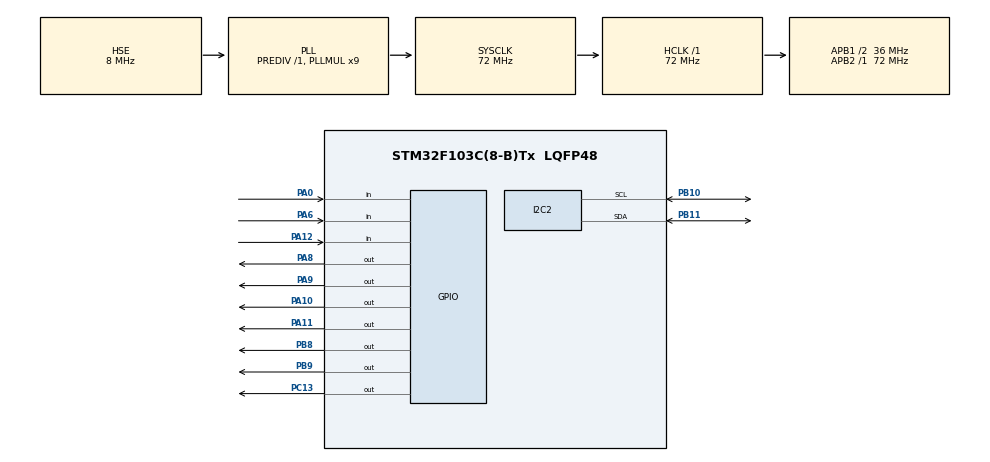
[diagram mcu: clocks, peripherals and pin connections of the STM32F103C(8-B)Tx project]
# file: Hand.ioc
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I2C2.I2C_Mode=I2C_Fast
Mcu.Family=STM32F1
Mcu.Name=STM32F103C(8-B)Tx
Mcu.Package=LQFP48
NVIC.PriorityGroup=NVIC_PRIORITYGROUP_4
PA0-WKUP.GPIO_PuPd=GPIO_PULLDOWN
PA0-WKUP.Signal=GPIO_Input
PA10.PinState=GPIO_PIN_SET
PA10.Signal=GPIO_Output
PA11.Signal=GPIO_Output
PA12.GPIO_PuPd=GPIO_PULLUP
PA12.Signal=GPIO_Input
PA13.Mode=Serial_Wire
PA13.Signal=SYS_JTMS-SWDIO
PA14.Mode=Serial_Wire
PA14.Signal=SYS_JTCK-SWCLK
PA6.GPIO_PuPd=GPIO_PULLDOWN
PA6.Signal=GPIO_Input
PA8.Signal=GPIO_Output
PA9.Signal=GPIO_Output
PB10.Mode=I2C
PB10.Signal=I2C2_SCL
PB11.Mode=I2C
PB11.Signal=I2C2_SDA
PB8.Signal=GPIO_Output
PB9.Signal=GPIO_Output
PC13-TAMPER-RTC.PinState=GPIO_PIN_SET
PC13-TAMPER-RTC.Signal=GPIO_Output
PD0-OSC_IN.Mode=HSE-External-Oscillator
PD0-OSC_IN.Signal=RCC_OSC_IN
PD1-OSC_OUT.Mode=HSE-External-Oscillator
PD1-OSC_OUT.Signal=RCC_OSC_OUT
ProjectManager.HeapSize=0x200
ProjectManager.StackSize=0x400
ProjectManager.TargetToolchain=MDK-ARM V5.32
RCC.AHBFreq_Value=72000000
RCC.APB1CLKDivider=RCC_HCLK_DIV2
RCC.APB1Freq_Value=36000000
RCC.APB1TimFreq_Value=72000000
RCC.APB2Freq_Value=72000000
RCC.APB2TimFreq_Value=72000000
RCC.HCLKFreq_Value=72000000
RCC.PLLMUL=RCC_PLL_MUL9
RCC.PLLSourceVirtual=RCC_PLLSOURCE_HSE
RCC.SYSCLKFreq_VALUE=72000000
RCC.SYSCLKSource=RCC_SYSCLKSOURCE_PLLCLK
RCC.USBFreq_Value=72000000
board=custom

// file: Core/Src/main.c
/* USER CODE BEGIN Header */
/**
  ******************************************************************************
  * @file           : main.c
  * @brief          : Main program body
  ******************************************************************************
  * @attention
  *
  * Copyright (c) 2026 STMicroelectronics.
  * All rights reserved.
  *
  * This software is licensed under terms that can be found in the LICENSE file
  * in the root directory of this software component.
  * If no LICENSE file comes with this software, it is provided AS-IS.
  *
  ******************************************************************************
  */
/* USER CODE END Header */
#include "main.h"
#include "i2c.h"
#include "gpio.h"

/* USER CODE BEGIN Includes */
#include "OLED.h"
#include "mpu6500.h"
#include "nrf24l01.h"
/* USER CODE END Includes */

/* USER CODE BEGIN PD */
/* 手势编号（后续 NRF 发送阶段将直接用作命令字） */
#define GES_STOP   0	/* 放平 */
#define GES_FRONT  1	/* 前倾 */
#define GES_BACK   2	/* 后倾 */
#define GES_LEFT   3	/* 左倾 */
#define GES_RIGHT  4	/* 右倾 */
#define GES_ROTL   5	/* 左拧（原地逆时针） */
#define GES_ROTR   6	/* 右拧（原地顺时针） */
#define GES_LOCKTOG 7	/* 解锁/锁定车端（PA6 按下时连发，2026-09-14 加） */

/* PA6 解锁命令连发时长：按下后把命令 7 连发约 12 帧（30Hz × 400ms），
   即使中途丢几帧也能送到车端；车端按命令 7 的上升沿去重，只切换一次 */
#define LOCK_BURST_MS   400

/* 拧腕阈值：陀螺仪 Z 轴原始值。±100°/s × 131 LSB = ±13100（2026-09-12 用户实测定） */
#define TWIST_RAW_THRESHOLD   13100

/* 拧腕锁定时间：一次拧腕结束后，这段时间内不再识别任何旋转（防回正误判成反向旋转） */
#define TWIST_LOCK_MS   1000
/* USER CODE END PD */

void SystemClock_Config(void);

int main(void)
{

  /* MCU Configuration--------------------------------------------------------*/

  /* Reset of all peripherals, Initializes the Flash interface and the Systick. */
  HAL_Init();

  /* Configure the system clock */
  SystemClock_Config();

  /* Initialize all configured peripherals */
  MX_GPIO_Init();
  MX_I2C2_Init();
  /* USER CODE BEGIN 2 */
  OLED_Init();				/* OLED 初始化（内部会重跑 MX_GPIO_Init，必须最先） */
  NRF24L01_Init();			/* NRF 模块配置好待命，发送受总开关控制 */
  /* 上电默认总开关关：只显示关机提示，按 PA0 才开机（采样/显示/NRF 发送全开） */
  OLED_Clear();
  OLED_ShowString(1, 1, "SENSOR OFF");
  OLED_ShowString(3, 1, "Press key to");
  OLED_ShowString(4, 1, "start");
  if (MPU6500_Init(&hi2c2) != HAL_OK)	/* 传感器自检（读 WHO_AM_I） */
  {
      OLED_ShowString(1, 1, "MPU6500 ERROR");	/* 覆盖关机提示第一行 */
      OLED_ShowString(2, 1, "Check wire/AD0 ");
      while (1) {}			/* 传感器没响应，停在这里排查接线 */
  }
  /* 旋转指示输出脚初始拉低（顺时针=PA3，识别到才置高；PA6 已改做解锁按键） */
  HAL_GPIO_WritePin(GPIOA, GPIO_PIN_3, GPIO_PIN_RESET);
  /* USER CODE END 2 */

  /* Infinite loop */
  while (1)
  {

    /* USER CODE BEGIN 3 */
    /* 60Hz 节奏：每 16ms 处理一次按键 + 采样一次传感器（16ms ≈ 62Hz） */
    static uint32_t lastTick = 0;
    static uint8_t  gSysOn     = 0;         /* 总开关：0=整机停，1=工作（PA0 按一下切换） */
    static uint8_t  lastGesture = GES_STOP; /* 上次显示的手势，变化时才重画 */
    static uint8_t  btnState   = 0;         /* 防抖后的按键稳定电平（按下=1） */
    static uint8_t  btnRawLast = 0;
    static uint32_t btnDebCnt  = 0;
    static uint16_t redrawCnt  = 0;         /* 定期整屏重刷计数（修软 I2C 偶发花屏） */
    static uint32_t twistLockUntil = 0;     /* 拧腕锁定截止时刻：到点前不识别新旋转 */
    static int8_t   twistDir = 0;           /* 持续中的拧腕方向：-1 顺 / 0 无 / +1 逆 */
    static uint8_t  txGesture = GES_STOP;   /* 要发送的手势（MPU 读失败时=STOP） */
    static uint8_t  lockBtnState   = 0;     /* PA6 解锁按键：防抖后的稳定电平（按下=1） */
    static uint8_t  lockBtnRawLast = 0;
    static uint32_t lockBtnDebCnt  = 0;
    static uint32_t lockBurstUntil = 0;     /* 命令 7 连发截止时刻（0=不在连发） */
    int16_t ax, ay, az;
    int16_t gx, gy, gz = 0;                 /* gz = 陀螺仪 Z 轴，拧腕旋转用 */
    float pitch, roll;

    if (HAL_GetTick() - lastTick >= 16)
    {
        lastTick = HAL_GetTick();

        /* ---- 按键消抖：PA0 一端接 3.3V、另一端接引脚（内部下拉，按下读 1） ---- */
        uint8_t btnRaw = HAL_GPIO_ReadPin(GPIOA, GPIO_PIN_0);
        if (btnRaw != btnRawLast)
        {
            btnRawLast = btnRaw;            /* 电平变化，重新累计稳定时间 */
            btnDebCnt = 0;
        }
        else if (++btnDebCnt >= 3)          /* 稳定 3 个采样周期（约 48ms）才认 */
        {
            btnDebCnt = 3;                  /* 封顶防溢出 */
            if (btnRaw != btnState)
            {
                btnState = btnRaw;
                if (btnState == 1)          /* 按下边沿：总开关 开/关 切换 */
                {
                    gSysOn = !gSysOn;
                    if (gSysOn)
                    {
                        /* 开机：清屏，只显示当前动作（第 2 行居中） */
                        OLED_Clear();
                        OLED_ShowString(2, 5, "STOP   ");
                        lastGesture = GES_STOP;
                        txGesture = GES_STOP;   /* 清掉关机前的旧手势 */
                    }
                    else
                    {
                        /* 关机：采样、显示、NRF 发送全部停止，只剩提示 */
                        OLED_Clear();
                        OLED_ShowString(1, 1, "SENSOR OFF");
                        OLED_ShowString(3, 1, "Press key to");
                        OLED_ShowString(4, 1, "start");
                        HAL_GPIO_WritePin(GPIOA, GPIO_PIN_3, GPIO_PIN_RESET);	/* 旋转指示清零 */
                    }
                }
            }
        }

        /* ---- PA6 解锁按键消抖：接法和 PA0 完全一样（一端接 3.3V、另一端接引脚，
               内部下拉，按下读 1）。按下边沿 → 启动命令 7 连发 400ms，
               车端收到后切换 解锁/锁定。
               2026-09-14 加：车端断联自动上锁后，不用再弯腰按车上的 PA15 ---- */
        uint8_t lockBtnRaw = HAL_GPIO_ReadPin(GPIOA, GPIO_PIN_6);
        if (lockBtnRaw != lockBtnRawLast)
        {
            lockBtnRawLast = lockBtnRaw;    /* 电平变化，重新累计稳定时间 */
            lockBtnDebCnt = 0;
        }
        else if (++lockBtnDebCnt >= 3)      /* 稳定 3 个采样周期（约 48ms）才认 */
        {
            lockBtnDebCnt = 3;
            if (lockBtnRaw != lockBtnState)
            {
                lockBtnState = lockBtnRaw;
                if (lockBtnState == 1)      /* 按下边沿：启动解锁命令连发 */
                {
                    lockBurstUntil = HAL_GetTick() + LOCK_BURST_MS;
                }
            }
        }

        /* ---- 每 0.5s 重刷一遍静态内容（不清屏避免闪烁）：软 I2C 偶发丢字节
               弄花屏幕时，半秒内自动修复 ---- */
        if (++redrawCnt >= 32)          /* 32 × 16ms ≈ 0.5s */
        {
            redrawCnt = 0;
            if (gSysOn)
            {
                lastGesture = 0xFF;     /* 手势文字下一拍强制重画 */
            }
            else
            {
                OLED_ShowString(1, 1, "SENSOR OFF");
                OLED_ShowString(3, 1, "Press key to");
                OLED_ShowString(4, 1, "start");
            }
        }

        /* ---- 总开关打开时才干活：采样 + 显示 +（后续）NRF 发送 ---- */
        if (gSysOn && MPU6500_ReadAccel(&hi2c2, &ax, &ay, &az) == HAL_OK)
        {
            MPU6500_CalcAngles(ax, ay, az, &pitch, &roll);
            MPU6500_ReadGyro(&hi2c2, &gx, &gy, &gz);	/* 读陀螺仪（拧腕看 gz） */

            /* 手势分类：拧腕优先（动作最明确），再判倾斜（±20° 死区）；
               文字只在分类变化时重画 */
            uint8_t gesture = GES_STOP;

            /* 拧腕状态机：
               - 空闲且 1 秒锁定期已过才识别新拧腕，方向看 gz 符号
               - 同方向持续拧动时保持该手势显示
               - 角速度回到死区 = 本次拧腕结束，启动 1 秒锁定，
                 防止回正的反向角速度被误判成反向旋转 */
            if (gz > TWIST_RAW_THRESHOLD)
            {
                if (twistDir == 0 && (int32_t)(HAL_GetTick() - twistLockUntil) >= 0)
                    twistDir = 1;               /* 新识别：左拧/逆时针 */
                if (twistDir == 1)
                    gesture = GES_ROTL;
            }
            else if (gz < -TWIST_RAW_THRESHOLD)
            {
                if (twistDir == 0 && (int32_t)(HAL_GetTick() - twistLockUntil) >= 0)
                    twistDir = -1;              /* 新识别：右拧/顺时针 */
                if (twistDir == -1)
                    gesture = GES_ROTR;
            }
            else if (twistDir != 0)
            {
                twistDir = 0;                   /* 拧腕结束，开始 1 秒锁定 */
                twistLockUntil = HAL_GetTick() + TWIST_LOCK_MS;
            }

            if (gesture == GES_STOP)            /* 没有拧腕（或锁定期内）才判倾斜 */
            {
                if (pitch > 20.0f)          gesture = GES_FRONT; /* 前倾 */
                else if (pitch < -20.0f)    gesture = GES_BACK;  /* 后倾 */
                else if (roll > 20.0f)      gesture = GES_LEFT;  /* 左倾（按当前安装方向） */
                else if (roll < -20.0f)     gesture = GES_RIGHT; /* 右倾 */
            }

            if (gesture != lastGesture)
            {
                lastGesture = gesture;
                switch (gesture)
                {
                    case GES_FRONT:  OLED_ShowString(2, 5, "FRONT  "); break;
                    case GES_BACK:   OLED_ShowString(2, 5, "BACK   "); break;
                    case GES_LEFT:   OLED_ShowString(2, 5, "LEFT   "); break;
                    case GES_RIGHT:  OLED_ShowString(2, 5, "RIGHT  "); break;
                    case GES_ROTL:   OLED_ShowString(2, 5, "ROT L  "); break;
                    case GES_ROTR:   OLED_ShowString(2, 5, "ROT R  "); break;
                    default:         OLED_ShowString(2, 5, "STOP   "); break;
                }
            }

            /* 旋转指示输出：顺时针→PA3 高电平（电平实时跟随识别结果；
               PA6 已改做解锁按键输入，逆时针指示取消） */
            HAL_GPIO_WritePin(GPIOA, GPIO_PIN_3, (gesture == GES_ROTR) ? GPIO_PIN_SET : GPIO_PIN_RESET);

            txGesture = gesture;        /* 记录本拍识别结果，供下方发送块使用 */
        }
        else if (gSysOn)
        {
            /* MPU 读失败（I2C 瞬断）：本拍按放平处理——发 STOP 让车安全停车，
               同时链路不断，车端不会误判失联重新上锁 */
            txGesture = GES_STOP;
            HAL_GPIO_WritePin(GPIOA, GPIO_PIN_3, GPIO_PIN_RESET);
        }

        /* ---- NRF 发送：每 2 拍发一包（约 30Hz）。独立于采样块：
               只要总开关开就发，MPU 读失败时也照发 STOP 保链；
               2026-09-12 由 15Hz 提到 30Hz：电机 EMI 压接收时，
               帧流越密，漏进干扰间隙的概率越高 ---- */
        static uint8_t sendCnt = 0;
        static uint8_t seq = 0;
        if (gSysOn && ++sendCnt >= 2)
        {
            sendCnt = 0;
            NRF24L01_TxPacket[0] = 0xA5;                    /* 帧头 */
            /* 命令字：PA6 刚按下后的连发窗口内优先发 7（解锁/锁定切换），
               其余时间发手势编号 0~6 */
            NRF24L01_TxPacket[1] = ((int32_t)(HAL_GetTick() - lockBurstUntil) < 0)
                                 ? GES_LOCKTOG : txGesture;
            NRF24L01_TxPacket[2] = seq++;                   /* 序号 */
            NRF24L01_TxPacket[3] = NRF24L01_TxPacket[0] + NRF24L01_TxPacket[1]
                                 + NRF24L01_TxPacket[2];    /* 校验和（前三字节之和） */
            NRF24L01_Send();                /* 发送失败不处理：车端有失联保护 */
        }
    }
  }
  /* USER CODE END 3 */
}

void SystemClock_Config(void)
{
  RCC_OscInitTypeDef RCC_OscInitStruct = {0};
  RCC_ClkInitTypeDef RCC_ClkInitStruct = {0};

  /** Initializes the RCC Oscillators according to the specified parameters
  * in the RCC_OscInitTypeDef structure.
  */
  RCC_OscInitStruct.OscillatorType = RCC_OSCILLATORTYPE_HSE;
  RCC_OscInitStruct.HSEState = RCC_HSE_ON;
  RCC_OscInitStruct.HSEPredivValue = RCC_HSE_PREDIV_DIV1;
  RCC_OscInitStruct.HSIState = RCC_HSI_ON;
  RCC_OscInitStruct.PLL.PLLState = RCC_PLL_ON;
  RCC_OscInitStruct.PLL.PLLSource = RCC_PLLSOURCE_HSE;
  RCC_OscInitStruct.PLL.PLLMUL = RCC_PLL_MUL9;
  if (HAL_RCC_OscConfig(&RCC_OscInitStruct) != HAL_OK)
  {
    Error_Handler();
  }

  /** Initializes the CPU, AHB and APB buses clocks
  */
  RCC_ClkInitStruct.ClockType = RCC_CLOCKTYPE_HCLK|RCC_CLOCKTYPE_SYSCLK
                              |RCC_CLOCKTYPE_PCLK1|RCC_CLOCKTYPE_PCLK2;
  RCC_ClkInitStruct.SYSCLKSource = RCC_SYSCLKSOURCE_PLLCLK;
  RCC_ClkInitStruct.AHBCLKDivider = RCC_SYSCLK_DIV1;
  RCC_ClkInitStruct.APB1CLKDivider = RCC_HCLK_DIV2;
  RCC_ClkInitStruct.APB2CLKDivider = RCC_HCLK_DIV1;

  if (HAL_RCC_ClockConfig(&RCC_ClkInitStruct, FLASH_LATENCY_2) != HAL_OK)
  {
    Error_Handler();
  }
}

void Error_Handler(void)
{
  __disable_irq();
  while (1)
  {
  }
}
